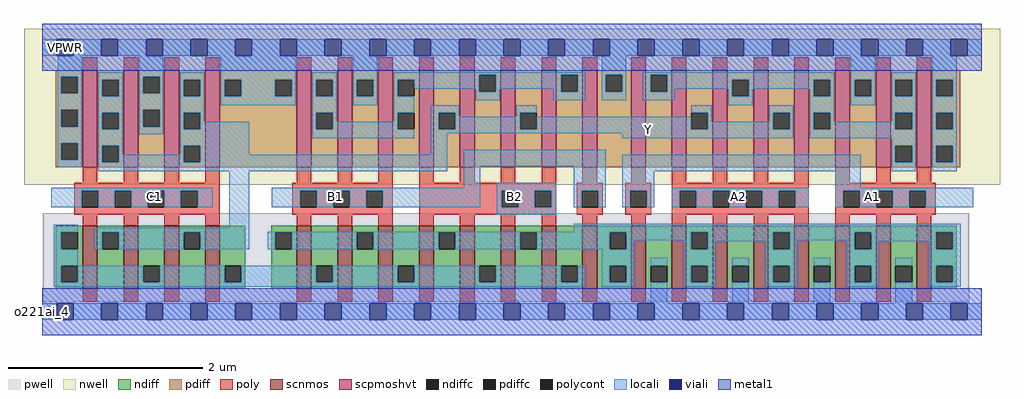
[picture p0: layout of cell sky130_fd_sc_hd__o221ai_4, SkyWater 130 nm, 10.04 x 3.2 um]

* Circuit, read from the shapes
.subckt sky130_fd_sc_hd__o221ai_4 VGND VPWR VPB VNB B2 Y A2 A1 B1 C1
XM1 Y C1 n1 VNB sky130_fd_pr__nfet_01v8 w=0.65 l=0.15 m=4
XM2 n1 B1 n2 VNB sky130_fd_pr__nfet_01v8 w=0.65 l=0.15 m=4
XM3 n2 B2 n1 VNB sky130_fd_pr__nfet_01v8 w=0.65 l=0.15 m=4
XM4 VGND A1 n2 VNB sky130_fd_pr__nfet_01v8 w=0.65 l=0.15 m=4
XM5 n2 A2 VGND VNB sky130_fd_pr__nfet_01v8 w=0.65 l=0.15 m=4
XM6 Y C1 VPWR VPB sky130_fd_pr__pfet_01v8_hvt w=1 l=0.15 m=4
XM7 n3 B1 VPWR VPB sky130_fd_pr__pfet_01v8_hvt w=1 l=0.15 m=4
XM8 Y B2 n3 VPB sky130_fd_pr__pfet_01v8_hvt w=1 l=0.15 m=4
XM9 n4 A1 VPWR VPB sky130_fd_pr__pfet_01v8_hvt w=1 l=0.15 m=4
XM10 Y A2 n4 VPB sky130_fd_pr__pfet_01v8_hvt w=1 l=0.15 m=4
.ends

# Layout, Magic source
magic
tech sky130B
magscale 1 2
<< nwell >>
rect -38 221 1970 542
<< pwell >>
rect 1 -19 1907 163
rect 30 -57 64 -19
<< scnmos >>
rect 83 7 113 137
rect 167 7 197 137
rect 251 7 281 137
rect 335 7 365 137
rect 523 7 553 137
rect 607 7 637 137
rect 691 7 721 137
rect 775 7 805 137
rect 859 7 889 137
rect 943 7 973 137
rect 1027 7 1057 137
rect 1111 7 1141 137
rect 1211 7 1241 137
rect 1295 7 1325 137
rect 1379 7 1409 137
rect 1463 7 1493 137
rect 1547 7 1577 137
rect 1631 7 1661 137
rect 1715 7 1745 137
rect 1799 7 1829 137
<< scpmoshvt >>
rect 83 257 113 457
rect 167 257 197 457
rect 251 257 281 457
rect 335 257 365 457
rect 523 257 553 457
rect 607 257 637 457
rect 691 257 721 457
rect 775 257 805 457
rect 859 257 889 457
rect 943 257 973 457
rect 1027 257 1057 457
rect 1111 257 1141 457
rect 1211 257 1241 457
rect 1295 257 1325 457
rect 1379 257 1409 457
rect 1463 257 1493 457
rect 1547 257 1577 457
rect 1631 257 1661 457
rect 1715 257 1745 457
rect 1799 257 1829 457
<< ndiff >>
rect 27 123 83 137
rect 27 89 39 123
rect 73 89 83 123
rect 27 55 83 89
rect 27 21 39 55
rect 73 21 83 55
rect 27 7 83 21
rect 113 123 167 137
rect 113 89 123 123
rect 157 89 167 123
rect 113 7 167 89
rect 197 55 251 137
rect 197 21 207 55
rect 241 21 251 55
rect 197 7 251 21
rect 281 123 335 137
rect 281 89 291 123
rect 325 89 335 123
rect 281 7 335 89
rect 365 55 417 137
rect 365 21 375 55
rect 409 21 417 55
rect 365 7 417 21
rect 471 123 523 137
rect 471 89 479 123
rect 513 89 523 123
rect 471 7 523 89
rect 553 55 607 137
rect 553 21 563 55
rect 597 21 607 55
rect 553 7 607 21
rect 637 123 691 137
rect 637 89 647 123
rect 681 89 691 123
rect 637 7 691 89
rect 721 55 775 137
rect 721 21 731 55
rect 765 21 775 55
rect 721 7 775 21
rect 805 123 859 137
rect 805 89 815 123
rect 849 89 859 123
rect 805 7 859 89
rect 889 55 943 137
rect 889 21 899 55
rect 933 21 943 55
rect 889 7 943 21
rect 973 123 1027 137
rect 973 89 983 123
rect 1017 89 1027 123
rect 973 7 1027 89
rect 1057 55 1111 137
rect 1057 21 1067 55
rect 1101 21 1111 55
rect 1057 7 1111 21
rect 1141 123 1211 137
rect 1141 89 1167 123
rect 1201 89 1211 123
rect 1141 55 1211 89
rect 1141 21 1167 55
rect 1201 21 1211 55
rect 1141 7 1211 21
rect 1241 55 1295 137
rect 1241 21 1251 55
rect 1285 21 1295 55
rect 1241 7 1295 21
rect 1325 123 1379 137
rect 1325 89 1335 123
rect 1369 89 1379 123
rect 1325 55 1379 89
rect 1325 21 1335 55
rect 1369 21 1379 55
rect 1325 7 1379 21
rect 1409 55 1463 137
rect 1409 21 1419 55
rect 1453 21 1463 55
rect 1409 7 1463 21
rect 1493 123 1547 137
rect 1493 89 1503 123
rect 1537 89 1547 123
rect 1493 55 1547 89
rect 1493 21 1503 55
rect 1537 21 1547 55
rect 1493 7 1547 21
rect 1577 55 1631 137
rect 1577 21 1587 55
rect 1621 21 1631 55
rect 1577 7 1631 21
rect 1661 123 1715 137
rect 1661 89 1671 123
rect 1705 89 1715 123
rect 1661 55 1715 89
rect 1661 21 1671 55
rect 1705 21 1715 55
rect 1661 7 1715 21
rect 1745 55 1799 137
rect 1745 21 1755 55
rect 1789 21 1799 55
rect 1745 7 1799 21
rect 1829 123 1881 137
rect 1829 89 1839 123
rect 1873 89 1881 123
rect 1829 55 1881 89
rect 1829 21 1839 55
rect 1873 21 1881 55
rect 1829 7 1881 21
<< pdiff >>
rect 27 443 83 457
rect 27 409 39 443
rect 73 409 83 443
rect 27 375 83 409
rect 27 341 39 375
rect 73 341 83 375
rect 27 307 83 341
rect 27 273 39 307
rect 73 273 83 307
rect 27 257 83 273
rect 113 437 167 457
rect 113 403 123 437
rect 157 403 167 437
rect 113 369 167 403
rect 113 335 123 369
rect 157 335 167 369
rect 113 301 167 335
rect 113 267 123 301
rect 157 267 167 301
rect 113 257 167 267
rect 197 443 251 457
rect 197 409 207 443
rect 241 409 251 443
rect 197 375 251 409
rect 197 341 207 375
rect 241 341 251 375
rect 197 257 251 341
rect 281 437 335 457
rect 281 403 291 437
rect 325 403 335 437
rect 281 369 335 403
rect 281 335 291 369
rect 325 335 335 369
rect 281 301 335 335
rect 281 267 291 301
rect 325 267 335 301
rect 281 257 335 267
rect 365 437 523 457
rect 365 403 375 437
rect 409 403 479 437
rect 513 403 523 437
rect 365 257 523 403
rect 553 437 607 457
rect 553 403 563 437
rect 597 403 607 437
rect 553 369 607 403
rect 553 335 563 369
rect 597 335 607 369
rect 553 257 607 335
rect 637 437 691 457
rect 637 403 647 437
rect 681 403 691 437
rect 637 257 691 403
rect 721 437 775 457
rect 721 403 731 437
rect 765 403 775 437
rect 721 369 775 403
rect 721 335 731 369
rect 765 335 775 369
rect 721 257 775 335
rect 805 369 859 457
rect 805 335 815 369
rect 849 335 859 369
rect 805 257 859 335
rect 889 447 943 457
rect 889 413 899 447
rect 933 413 943 447
rect 889 257 943 413
rect 973 369 1027 457
rect 973 335 983 369
rect 1017 335 1027 369
rect 973 257 1027 335
rect 1057 447 1111 457
rect 1057 413 1067 447
rect 1101 413 1111 447
rect 1057 257 1111 413
rect 1141 447 1211 457
rect 1141 413 1159 447
rect 1193 413 1211 447
rect 1141 257 1211 413
rect 1241 447 1295 457
rect 1241 413 1251 447
rect 1285 413 1295 447
rect 1241 257 1295 413
rect 1325 369 1379 457
rect 1325 335 1335 369
rect 1369 335 1379 369
rect 1325 257 1379 335
rect 1409 437 1463 457
rect 1409 403 1419 437
rect 1453 403 1463 437
rect 1409 257 1463 403
rect 1493 369 1547 457
rect 1493 335 1503 369
rect 1537 335 1547 369
rect 1493 257 1547 335
rect 1577 437 1631 457
rect 1577 403 1587 437
rect 1621 403 1631 437
rect 1577 369 1631 403
rect 1577 335 1587 369
rect 1621 335 1631 369
rect 1577 257 1631 335
rect 1661 437 1715 457
rect 1661 403 1671 437
rect 1705 403 1715 437
rect 1661 257 1715 403
rect 1745 437 1799 457
rect 1745 403 1755 437
rect 1789 403 1799 437
rect 1745 369 1799 403
rect 1745 335 1755 369
rect 1789 335 1799 369
rect 1745 301 1799 335
rect 1745 267 1755 301
rect 1789 267 1799 301
rect 1745 257 1799 267
rect 1829 437 1888 457
rect 1829 403 1839 437
rect 1873 403 1888 437
rect 1829 369 1888 403
rect 1829 335 1839 369
rect 1873 335 1888 369
rect 1829 301 1888 335
rect 1829 267 1839 301
rect 1873 267 1888 301
rect 1829 257 1888 267
<< ndiffc >>
rect 39 89 73 123
rect 39 21 73 55
rect 123 89 157 123
rect 207 21 241 55
rect 291 89 325 123
rect 375 21 409 55
rect 479 89 513 123
rect 563 21 597 55
rect 647 89 681 123
rect 731 21 765 55
rect 815 89 849 123
rect 899 21 933 55
rect 983 89 1017 123
rect 1067 21 1101 55
rect 1167 89 1201 123
rect 1167 21 1201 55
rect 1251 21 1285 55
rect 1335 89 1369 123
rect 1335 21 1369 55
rect 1419 21 1453 55
rect 1503 89 1537 123
rect 1503 21 1537 55
rect 1587 21 1621 55
rect 1671 89 1705 123
rect 1671 21 1705 55
rect 1755 21 1789 55
rect 1839 89 1873 123
rect 1839 21 1873 55
<< pdiffc >>
rect 39 409 73 443
rect 39 341 73 375
rect 39 273 73 307
rect 123 403 157 437
rect 123 335 157 369
rect 123 267 157 301
rect 207 409 241 443
rect 207 341 241 375
rect 291 403 325 437
rect 291 335 325 369
rect 291 267 325 301
rect 375 403 409 437
rect 479 403 513 437
rect 563 403 597 437
rect 563 335 597 369
rect 647 403 681 437
rect 731 403 765 437
rect 731 335 765 369
rect 815 335 849 369
rect 899 413 933 447
rect 983 335 1017 369
rect 1067 413 1101 447
rect 1159 413 1193 447
rect 1251 413 1285 447
rect 1335 335 1369 369
rect 1419 403 1453 437
rect 1503 335 1537 369
rect 1587 403 1621 437
rect 1587 335 1621 369
rect 1671 403 1705 437
rect 1755 403 1789 437
rect 1755 335 1789 369
rect 1755 267 1789 301
rect 1839 403 1873 437
rect 1839 335 1873 369
rect 1839 267 1873 301
<< poly >>
rect 83 457 113 483
rect 167 457 197 483
rect 251 457 281 483
rect 335 457 365 483
rect 523 457 553 483
rect 607 457 637 483
rect 691 457 721 483
rect 775 457 805 483
rect 859 457 889 483
rect 943 457 973 483
rect 1027 457 1057 483
rect 1111 457 1141 483
rect 1211 457 1241 483
rect 1295 457 1325 483
rect 1379 457 1409 483
rect 1463 457 1493 483
rect 1547 457 1577 483
rect 1631 457 1661 483
rect 1715 457 1745 483
rect 1799 457 1829 483
rect 83 225 113 257
rect 167 225 197 257
rect 251 225 281 257
rect 335 225 365 257
rect 523 225 553 257
rect 607 225 637 257
rect 691 225 721 257
rect 65 209 365 225
rect 65 175 81 209
rect 115 175 149 209
rect 183 175 217 209
rect 251 175 285 209
rect 319 175 365 209
rect 65 159 365 175
rect 514 209 721 225
rect 514 175 530 209
rect 564 175 598 209
rect 632 175 666 209
rect 700 175 721 209
rect 514 159 721 175
rect 83 137 113 159
rect 167 137 197 159
rect 251 137 281 159
rect 335 137 365 159
rect 523 137 553 159
rect 607 137 637 159
rect 691 137 721 159
rect 775 225 805 257
rect 859 225 889 257
rect 943 225 973 257
rect 1027 225 1057 257
rect 1111 225 1141 257
rect 1211 225 1241 257
rect 1295 225 1325 257
rect 1379 225 1409 257
rect 1463 225 1493 257
rect 1547 225 1577 257
rect 775 209 1057 225
rect 775 175 945 209
rect 979 175 1013 209
rect 1047 175 1057 209
rect 775 159 1057 175
rect 1099 209 1153 225
rect 1099 175 1109 209
rect 1143 175 1153 209
rect 1099 159 1153 175
rect 1199 209 1253 225
rect 1199 175 1209 209
rect 1243 175 1253 209
rect 1199 159 1253 175
rect 1295 209 1577 225
rect 1295 175 1311 209
rect 1345 175 1379 209
rect 1413 175 1447 209
rect 1481 175 1515 209
rect 1549 175 1577 209
rect 1295 159 1577 175
rect 775 137 805 159
rect 859 137 889 159
rect 943 137 973 159
rect 1027 137 1057 159
rect 1111 137 1141 159
rect 1211 137 1241 159
rect 1295 137 1325 159
rect 1379 137 1409 159
rect 1463 137 1493 159
rect 1547 137 1577 159
rect 1631 225 1661 257
rect 1715 225 1745 257
rect 1799 225 1829 257
rect 1631 209 1838 225
rect 1631 175 1647 209
rect 1681 175 1715 209
rect 1749 175 1783 209
rect 1817 175 1838 209
rect 1631 159 1838 175
rect 1631 137 1661 159
rect 1715 137 1745 159
rect 1799 137 1829 159
rect 83 -19 113 7
rect 167 -19 197 7
rect 251 -19 281 7
rect 335 -19 365 7
rect 523 -19 553 7
rect 607 -19 637 7
rect 691 -19 721 7
rect 775 -19 805 7
rect 859 -19 889 7
rect 943 -19 973 7
rect 1027 -19 1057 7
rect 1111 -19 1141 7
rect 1211 -19 1241 7
rect 1295 -19 1325 7
rect 1379 -19 1409 7
rect 1463 -19 1493 7
rect 1547 -19 1577 7
rect 1631 -19 1661 7
rect 1715 -19 1745 7
rect 1799 -19 1829 7
<< polycont >>
rect 81 175 115 209
rect 149 175 183 209
rect 217 175 251 209
rect 285 175 319 209
rect 530 175 564 209
rect 598 175 632 209
rect 666 175 700 209
rect 945 175 979 209
rect 1013 175 1047 209
rect 1109 175 1143 209
rect 1209 175 1243 209
rect 1311 175 1345 209
rect 1379 175 1413 209
rect 1447 175 1481 209
rect 1515 175 1549 209
rect 1647 175 1681 209
rect 1715 175 1749 209
rect 1783 175 1817 209
<< locali >>
rect 0 487 29 521
rect 63 487 121 521
rect 155 487 213 521
rect 247 487 305 521
rect 339 487 397 521
rect 431 487 489 521
rect 523 487 581 521
rect 615 487 673 521
rect 707 487 765 521
rect 799 487 857 521
rect 891 487 949 521
rect 983 487 1041 521
rect 1075 487 1133 521
rect 1167 487 1225 521
rect 1259 487 1317 521
rect 1351 487 1409 521
rect 1443 487 1501 521
rect 1535 487 1593 521
rect 1627 487 1685 521
rect 1719 487 1777 521
rect 1811 487 1869 521
rect 1903 487 1932 521
rect 31 443 81 487
rect 31 409 39 443
rect 73 409 81 443
rect 31 375 81 409
rect 31 341 39 375
rect 73 341 81 375
rect 31 307 81 341
rect 31 273 39 307
rect 73 273 81 307
rect 31 257 81 273
rect 115 437 165 453
rect 115 403 123 437
rect 157 403 165 437
rect 115 369 165 403
rect 115 335 123 369
rect 157 335 165 369
rect 115 301 165 335
rect 199 443 249 487
rect 199 409 207 443
rect 241 409 249 443
rect 199 375 249 409
rect 199 341 207 375
rect 241 341 249 375
rect 199 325 249 341
rect 283 437 333 453
rect 283 403 291 437
rect 325 403 333 437
rect 283 369 333 403
rect 367 437 521 487
rect 367 403 375 437
rect 409 403 479 437
rect 513 403 521 437
rect 367 385 521 403
rect 555 437 605 453
rect 555 403 563 437
rect 597 403 605 437
rect 283 335 291 369
rect 325 351 333 369
rect 555 369 605 403
rect 639 437 689 487
rect 639 403 647 437
rect 681 403 689 437
rect 639 385 689 403
rect 723 447 1117 453
rect 723 437 899 447
rect 723 403 731 437
rect 765 419 899 437
rect 325 335 425 351
rect 115 267 123 301
rect 157 283 165 301
rect 283 301 425 335
rect 555 335 563 369
rect 597 351 605 369
rect 723 369 765 403
rect 891 413 899 419
rect 933 419 1067 447
rect 933 413 941 419
rect 891 395 941 413
rect 1051 413 1067 419
rect 1101 413 1117 447
rect 1051 395 1117 413
rect 1151 447 1201 487
rect 1151 413 1159 447
rect 1193 413 1201 447
rect 1151 395 1201 413
rect 1235 447 1629 453
rect 1235 413 1251 447
rect 1285 437 1629 447
rect 1285 419 1419 437
rect 1285 413 1301 419
rect 1235 395 1301 413
rect 1411 403 1419 419
rect 1453 419 1587 437
rect 1453 403 1461 419
rect 1411 385 1461 403
rect 1579 403 1587 419
rect 1621 403 1629 437
rect 723 351 731 369
rect 597 335 731 351
rect 555 317 765 335
rect 799 369 857 385
rect 799 335 815 369
rect 849 361 857 369
rect 975 369 1017 385
rect 975 361 983 369
rect 849 335 983 361
rect 1335 369 1377 385
rect 1017 335 1335 361
rect 1369 351 1377 369
rect 1495 369 1545 385
rect 1495 351 1503 369
rect 1369 335 1503 351
rect 1537 335 1545 369
rect 799 327 1545 335
rect 283 283 291 301
rect 157 267 291 283
rect 325 283 425 301
rect 799 283 833 327
rect 1193 317 1545 327
rect 1579 369 1629 403
rect 1663 437 1713 487
rect 1663 403 1671 437
rect 1705 403 1713 437
rect 1663 385 1713 403
rect 1747 437 1797 453
rect 1747 403 1755 437
rect 1789 403 1797 437
rect 1579 335 1587 369
rect 1621 351 1629 369
rect 1747 369 1797 403
rect 1747 351 1755 369
rect 1621 335 1755 351
rect 1789 335 1797 369
rect 1579 317 1797 335
rect 1747 301 1797 317
rect 325 267 833 283
rect 115 249 833 267
rect 867 259 1159 293
rect 18 209 350 215
rect 18 175 81 209
rect 115 175 149 209
rect 183 175 217 209
rect 251 175 285 209
rect 319 175 350 209
rect 23 123 73 139
rect 384 133 425 249
rect 867 215 901 259
rect 472 209 901 215
rect 472 175 530 209
rect 564 175 598 209
rect 632 175 666 209
rect 700 175 901 209
rect 935 209 1057 225
rect 935 175 945 209
rect 979 175 1013 209
rect 1047 175 1057 209
rect 1093 209 1159 259
rect 1093 175 1109 209
rect 1143 175 1159 209
rect 1193 249 1684 283
rect 1747 267 1755 301
rect 1789 267 1797 301
rect 1747 249 1797 267
rect 1831 437 1881 487
rect 1831 403 1839 437
rect 1873 403 1881 437
rect 1831 369 1881 403
rect 1831 335 1839 369
rect 1873 335 1881 369
rect 1831 301 1881 335
rect 1831 267 1839 301
rect 1873 267 1881 301
rect 1831 249 1881 267
rect 1193 209 1259 249
rect 1631 215 1684 249
rect 1193 175 1209 209
rect 1243 175 1259 209
rect 1295 209 1577 215
rect 1295 175 1311 209
rect 1345 175 1379 209
rect 1413 175 1447 209
rect 1481 175 1515 209
rect 1549 175 1577 209
rect 1631 209 1915 215
rect 1631 175 1647 209
rect 1681 175 1715 209
rect 1749 175 1783 209
rect 1817 175 1915 209
rect 935 159 1057 175
rect 23 89 39 123
rect 107 123 425 133
rect 1093 124 1889 141
rect 107 89 123 123
rect 157 89 291 123
rect 325 89 425 123
rect 463 123 1889 124
rect 463 89 479 123
rect 513 89 647 123
rect 681 89 815 123
rect 849 89 983 123
rect 1017 89 1167 123
rect 1201 107 1335 123
rect 1201 89 1217 107
rect 23 55 73 89
rect 1151 55 1217 89
rect 1319 89 1335 107
rect 1369 105 1503 123
rect 1369 89 1385 105
rect 23 21 39 55
rect 73 21 207 55
rect 241 21 375 55
rect 409 21 563 55
rect 597 21 731 55
rect 765 21 899 55
rect 933 21 1067 55
rect 1101 21 1117 55
rect 23 11 1117 21
rect 1151 21 1167 55
rect 1201 21 1217 55
rect 1151 11 1217 21
rect 1251 55 1285 71
rect 1251 -23 1285 21
rect 1319 55 1385 89
rect 1487 89 1503 105
rect 1537 107 1671 123
rect 1537 89 1553 107
rect 1319 21 1335 55
rect 1369 21 1385 55
rect 1319 11 1385 21
rect 1419 55 1453 71
rect 1419 -23 1453 21
rect 1487 55 1553 89
rect 1655 89 1671 107
rect 1705 105 1839 123
rect 1705 89 1721 105
rect 1487 21 1503 55
rect 1537 21 1553 55
rect 1487 11 1553 21
rect 1587 55 1621 71
rect 1587 -23 1621 21
rect 1655 55 1721 89
rect 1823 89 1839 105
rect 1873 89 1889 123
rect 1655 21 1671 55
rect 1705 21 1721 55
rect 1655 11 1721 21
rect 1755 55 1789 71
rect 1755 -23 1789 21
rect 1823 55 1889 89
rect 1823 21 1839 55
rect 1873 21 1889 55
rect 1823 11 1889 21
rect 0 -57 29 -23
rect 63 -57 121 -23
rect 155 -57 213 -23
rect 247 -57 305 -23
rect 339 -57 397 -23
rect 431 -57 489 -23
rect 523 -57 581 -23
rect 615 -57 673 -23
rect 707 -57 765 -23
rect 799 -57 857 -23
rect 891 -57 949 -23
rect 983 -57 1041 -23
rect 1075 -57 1133 -23
rect 1167 -57 1225 -23
rect 1259 -57 1317 -23
rect 1351 -57 1409 -23
rect 1443 -57 1501 -23
rect 1535 -57 1593 -23
rect 1627 -57 1685 -23
rect 1719 -57 1777 -23
rect 1811 -57 1869 -23
rect 1903 -57 1932 -23
<< viali >>
rect 29 487 63 521
rect 121 487 155 521
rect 213 487 247 521
rect 305 487 339 521
rect 397 487 431 521
rect 489 487 523 521
rect 581 487 615 521
rect 673 487 707 521
rect 765 487 799 521
rect 857 487 891 521
rect 949 487 983 521
rect 1041 487 1075 521
rect 1133 487 1167 521
rect 1225 487 1259 521
rect 1317 487 1351 521
rect 1409 487 1443 521
rect 1501 487 1535 521
rect 1593 487 1627 521
rect 1685 487 1719 521
rect 1777 487 1811 521
rect 1869 487 1903 521
rect 29 -57 63 -23
rect 121 -57 155 -23
rect 213 -57 247 -23
rect 305 -57 339 -23
rect 397 -57 431 -23
rect 489 -57 523 -23
rect 581 -57 615 -23
rect 673 -57 707 -23
rect 765 -57 799 -23
rect 857 -57 891 -23
rect 949 -57 983 -23
rect 1041 -57 1075 -23
rect 1133 -57 1167 -23
rect 1225 -57 1259 -23
rect 1317 -57 1351 -23
rect 1409 -57 1443 -23
rect 1501 -57 1535 -23
rect 1593 -57 1627 -23
rect 1685 -57 1719 -23
rect 1777 -57 1811 -23
rect 1869 -57 1903 -23
<< metal1 >>
rect 0 521 1932 552
rect 0 487 29 521
rect 63 487 121 521
rect 155 487 213 521
rect 247 487 305 521
rect 339 487 397 521
rect 431 487 489 521
rect 523 487 581 521
rect 615 487 673 521
rect 707 487 765 521
rect 799 487 857 521
rect 891 487 949 521
rect 983 487 1041 521
rect 1075 487 1133 521
rect 1167 487 1225 521
rect 1259 487 1317 521
rect 1351 487 1409 521
rect 1443 487 1501 521
rect 1535 487 1593 521
rect 1627 487 1685 521
rect 1719 487 1777 521
rect 1811 487 1869 521
rect 1903 487 1932 521
rect 0 456 1932 487
rect 0 -23 1932 8
rect 0 -57 29 -23
rect 63 -57 121 -23
rect 155 -57 213 -23
rect 247 -57 305 -23
rect 339 -57 397 -23
rect 431 -57 489 -23
rect 523 -57 581 -23
rect 615 -57 673 -23
rect 707 -57 765 -23
rect 799 -57 857 -23
rect 891 -57 949 -23
rect 983 -57 1041 -23
rect 1075 -57 1133 -23
rect 1167 -57 1225 -23
rect 1259 -57 1317 -23
rect 1351 -57 1409 -23
rect 1443 -57 1501 -23
rect 1535 -57 1593 -23
rect 1627 -57 1685 -23
rect 1719 -57 1777 -23
rect 1811 -57 1869 -23
rect 1903 -57 1932 -23
rect 0 -88 1932 -57
<< labels >>
rlabel comment s 0 -40 0 -40 4 o221ai_4
flabel metal1 s 30 -57 64 -23 0 FreeSans 200 0 0 0 VGND
port 2 nsew
flabel metal1 s 30 487 64 521 0 FreeSans 200 0 0 0 VPWR
port 3 nsew
flabel nwell s 30 487 64 521 0 FreeSans 200 0 0 0 VPB
port 5 nsew
flabel pwell s 30 -57 64 -23 0 FreeSans 200 0 0 0 VNB
port 6 nsew
flabel locali s 586 181 620 215 0 FreeSans 400 0 0 0 B1
port 11 nsew
flabel locali s 954 181 988 215 0 FreeSans 400 0 0 0 B2
port 7 nsew
flabel locali s 1414 181 1448 215 0 FreeSans 400 180 0 0 A2
port 9 nsew
flabel locali s 214 181 248 215 0 FreeSans 400 0 0 0 C1
port 12 nsew
flabel locali s 1230 317 1264 351 0 FreeSans 400 180 0 0 Y
port 8 nsew
flabel locali s 1690 181 1724 215 0 FreeSans 400 180 0 0 A1
port 10 nsew
<< properties >>
string FIXED_BBOX 0 -40 1932 504
string path 0.000 -1.000 48.300 -1.000 
<< end >>
